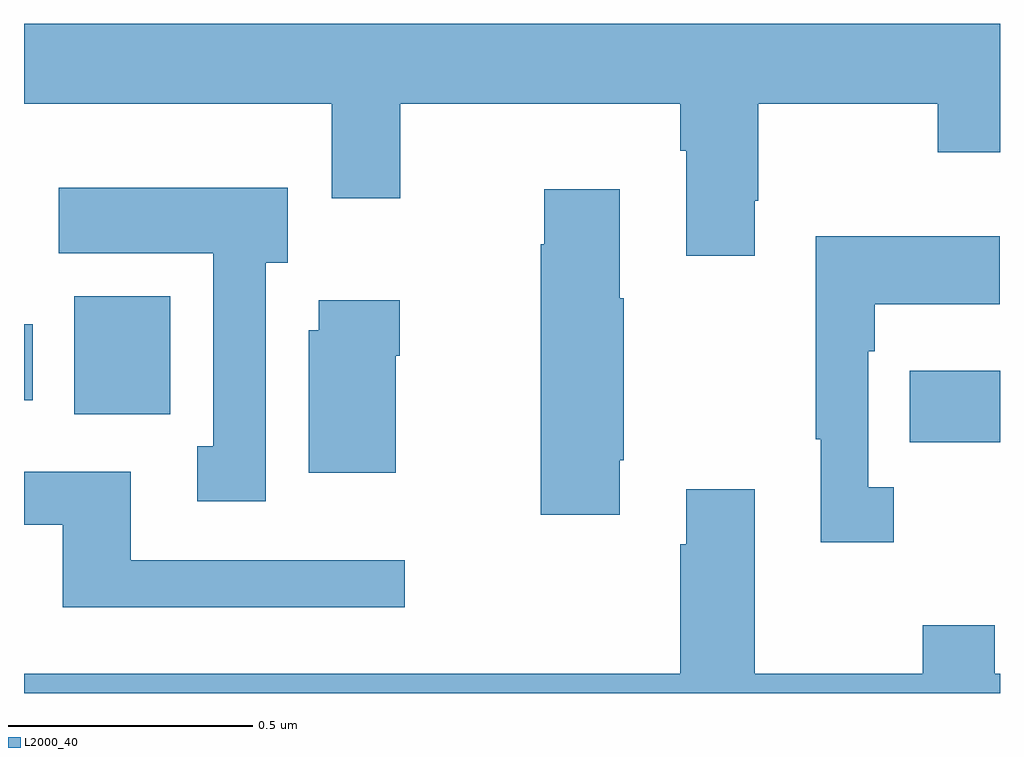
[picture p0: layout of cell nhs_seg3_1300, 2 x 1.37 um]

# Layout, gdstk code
import gdstk
lib = gdstk.Library(unit=1e-6, precision=1e-09)
def R(c, l, rs):  # rectangles x0, y0, x1, y1
    for r in rs: c.add(gdstk.rectangle(r[:2], r[2:], *l))
def P(c, l, *ps):  # polygons
    for p in ps: c.add(gdstk.Polygon(p, *l))
L2000_40 = (2000, 40)

nhs_seg3_1300 = lib.new_cell('nhs_seg3_1300')
R(nhs_seg3_1300, L2000_40, [(128.815,674.914,129,675.061), (127.103,674.972,127.3,675.214), (127,675,127.018,675.156)])
P(nhs_seg3_1300, L2000_40, [(128.497,675.409),(128.505,675.409),(128.505,675.608),(128.872,675.608),(128.872,675.509),(129,675.509),(129,675.772),(127,675.772),(127,675.608),(127.631,675.608),(127.631,675.414),(127.771,675.414),(127.771,675.608),(128.345,675.608),(128.345,675.512),(128.357,675.512),(128.357,675.297),(128.497,675.297)],
  [(127.495,675.282),(127.54,675.282),(127.54,675.436),(127.071,675.436),(127.071,675.302),(127.388,675.302),(127.388,674.906),(127.355,674.906),(127.355,674.793),(127.495,674.793)],
  [(128.221,674.878),(128.229,674.878),(128.229,675.209),(128.221,675.209),(128.221,675.433),(128.066,675.433),(128.066,675.32),(128.059,675.32),(128.059,674.766),(128.221,674.766)],
  [(128.782,674.822),(128.73,674.822),(128.73,675.101),(128.743,675.101),(128.743,675.197),(128.999,675.197),(128.999,675.337),(128.622,675.337),(128.622,674.921),(128.633,674.921),(128.633,674.709),(128.782,674.709)],
  [(127.762,675.092),(127.77,675.092),(127.77,675.205),(127.604,675.205),(127.604,675.144),(127.583,675.144),(127.583,674.852),(127.762,674.852)],
  [(127.78,674.673),(127.219,674.673),(127.219,674.854),(127,674.854),(127,674.745),(127.079,674.745),(127.079,674.576),(127.78,674.576)],
  [(128.357,674.818),(128.357,674.705),(128.345,674.705),(128.345,674.44),(127,674.44),(127,674.4),(129,674.4),(129,674.44),(128.989,674.44),(128.989,674.539),(128.842,674.539),(128.842,674.44),(128.497,674.44),(128.497,674.818)])

lib.write_gds('nhs_seg3_1300.gds')
